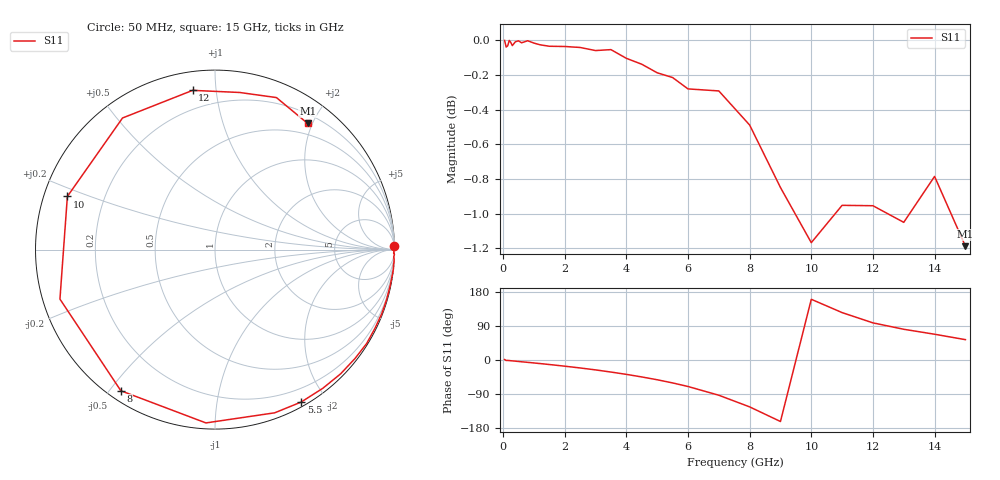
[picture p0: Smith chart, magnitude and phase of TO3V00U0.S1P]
! SIEMENS Small Signal Semiconductors
! BAT15-03W
! Si Schottky Diode in SOD323
! VR = 3 V
! S-Parameters:  May  1996
# GHz  S  MA  R  50
!  f  S11
! GHz  MAG  ANG
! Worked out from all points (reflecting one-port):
!   31 points, 50 MHz to 15 GHz, reference 50 ohm
!   lowest |S11| = -1.2 dB at 15 GHz (marker M1), VSWR 14.64, Z = 16.4 + j96.6 ohm
!   phase of S11 starts at 1 deg and turns -307 deg over the sweep
!   S11 on the Smith chart (normalised r, x): 50 MHz: 0, +95; 5.5 GHz: 0.05, -1.71; 8 GHz: 0.04, -0.53; 10 GHz: 0.07, +0.17; 12 GHz: 0.10, +0.86; 15 GHz: 0.33, +1.93
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0.05  1 1.2
0.1  0.9956 -1.2
0.15  0.9964 -1.1
0.2  1 -1.5
0.3  0.9966 -2.3
0.4  0.9991 -3.1
0.5  0.9998 -3.9
0.6  0.9984 -4.7
0.8  0.9998 -6.2
1.5  0.9961 -11.9
2  0.996 -16.3
2.5  0.9953 -21.0
3  0.9933 -26.1
3.5  0.9939 -31.8
4  0.9882 -37.9
4.5  0.9843 -44.7
5  0.9787 -52.1
5.5  0.9756 -60.5
6  0.9683 -69.9
7  0.967 -93.0
8  0.9453 -123.7
9  0.9068 -162.3
10  0.8742 160.2
11  0.8962 125.1
12  0.8959 98.0
13  0.8861 81.1
14  0.9135 68.0
15  0.8721 53.7
